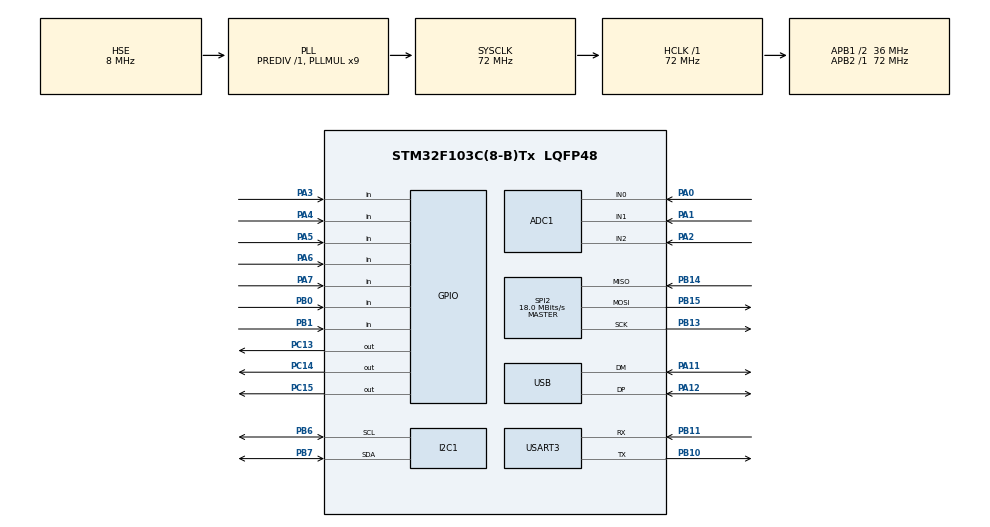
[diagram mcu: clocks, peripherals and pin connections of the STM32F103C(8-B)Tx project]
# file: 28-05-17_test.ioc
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ADC1.Channel-24\#ChannelRegularConversion=ADC_CHANNEL_0
ADC1.Channel-25\#ChannelRegularConversion=ADC_CHANNEL_1
ADC1.Channel-26\#ChannelRegularConversion=ADC_CHANNEL_2
ADC1.ContinuousConvMode=ENABLE
ADC1.NbrOfConversion=3
ADC1.NbrOfConversionFlag=1
ADC1.Rank-24\#ChannelRegularConversion=1
ADC1.Rank-25\#ChannelRegularConversion=2
ADC1.Rank-26\#ChannelRegularConversion=3
ADC1.SamplingTime-24\#ChannelRegularConversion=ADC_SAMPLETIME_7CYCLES_5
ADC1.SamplingTime-25\#ChannelRegularConversion=ADC_SAMPLETIME_7CYCLES_5
ADC1.SamplingTime-26\#ChannelRegularConversion=ADC_SAMPLETIME_7CYCLES_5
ADC1.master=1
Dma.ADC1.0.Direction=DMA_PERIPH_TO_MEMORY
Dma.ADC1.0.Instance=DMA1_Channel1
Dma.ADC1.0.MemDataAlignment=DMA_MDATAALIGN_HALFWORD
Dma.ADC1.0.MemInc=DMA_MINC_ENABLE
Dma.ADC1.0.Mode=DMA_CIRCULAR
Dma.ADC1.0.PeriphDataAlignment=DMA_PDATAALIGN_HALFWORD
Dma.ADC1.0.PeriphInc=DMA_PINC_DISABLE
Dma.ADC1.0.Priority=DMA_PRIORITY_LOW
Dma.Request0=ADC1
Mcu.Family=STM32F1
Mcu.Name=STM32F103C(8-B)Tx
Mcu.Package=LQFP48
NVIC.DMA1_Channel1_IRQn=true\:0\:0\:false\:false\:true
NVIC.PriorityGroup=NVIC_PRIORITYGROUP_4
NVIC.USB_LP_CAN1_RX0_IRQn=true\:0\:0\:false\:false\:true
PA0-WKUP.Signal=ADCx_IN0
PA1.Signal=ADCx_IN1
PA11.Mode=Device
PA11.Signal=USB_DM
PA12.Mode=Device
PA12.Signal=USB_DP
PA2.Signal=ADCx_IN2
PA3.GPIO_PuPd=GPIO_PULLDOWN
PA3.Signal=GPIO_Input
PA4.GPIO_PuPd=GPIO_PULLDOWN
PA4.Signal=GPIO_Input
PA5.GPIO_PuPd=GPIO_PULLDOWN
PA5.Signal=GPIO_Input
PA6.GPIO_PuPd=GPIO_PULLDOWN
PA6.Signal=GPIO_Input
PA7.GPIO_PuPd=GPIO_PULLDOWN
PA7.Signal=GPIO_Input
PB0.GPIO_PuPd=GPIO_PULLDOWN
PB0.Signal=GPIO_Input
PB1.GPIO_PuPd=GPIO_PULLDOWN
PB1.Signal=GPIO_Input
PB10.Mode=Asynchronous
PB10.Signal=USART3_TX
PB11.Mode=Asynchronous
PB11.Signal=USART3_RX
PB13.Mode=Full_Duplex_Master
PB13.Signal=SPI2_SCK
PB14.Mode=Full_Duplex_Master
PB14.Signal=SPI2_MISO
PB15.Mode=Full_Duplex_Master
PB15.Signal=SPI2_MOSI
PB6.Mode=I2C
PB6.Signal=I2C1_SCL
PB7.Mode=I2C
PB7.Signal=I2C1_SDA
PC13-TAMPER-RTC.Signal=GPIO_Output
PC14-OSC32_IN.Signal=GPIO_Output
PC15-OSC32_OUT.Signal=GPIO_Output
PD0-OSC_IN.Mode=HSE-External-Oscillator
PD0-OSC_IN.Signal=RCC_OSC_IN
PD1-OSC_OUT.Mode=HSE-External-Oscillator
PD1-OSC_OUT.Signal=RCC_OSC_OUT
ProjectManager.HeapSize=0x200
ProjectManager.StackSize=0x400
ProjectManager.TargetToolchain=TrueSTUDIO
RCC.ADCPresc=RCC_ADCPCLK2_DIV6
RCC.AHBFreq_Value=72000000
RCC.APB1CLKDivider=RCC_HCLK_DIV2
RCC.APB1Freq_Value=36000000
RCC.APB1TimFreq_Value=72000000
RCC.APB2Freq_Value=72000000
RCC.APB2TimFreq_Value=72000000
RCC.HCLKFreq_Value=72000000
RCC.PLLMUL=RCC_PLL_MUL9
RCC.RTCClockSelection=RCC_RTCCLKSOURCE_LSE
RCC.SYSCLKFreq_VALUE=72000000
RCC.SYSCLKSource=RCC_SYSCLKSOURCE_PLLCLK
RCC.USBFreq_Value=48000000
RCC.USBPrescaler=RCC_USBCLKSOURCE_PLL_DIV1_5
RCC.VDD_VALUE=3.3
SH.ADCx_IN0.0=ADC1_IN0,IN0
SH.ADCx_IN1.0=ADC1_IN1,IN1
SH.ADCx_IN2.0=ADC1_IN2,IN2
SPI2.CalculateBaudRate=18.0 MBits/s
SPI2.Direction=SPI_DIRECTION_2LINES
SPI2.Mode=SPI_MODE_MASTER
SPI2.VirtualType=VM_MASTER
USART3.VirtualMode=VM_ASYNC
USB_DEVICE.CLASS_NAME_FS=CUSTOMHID
USB_DEVICE.INTERFACE_STRING_CUSTOMHID_FS=\\xB2\\x03\\x58\\x00\\x62\\x00\\x6F\\x00\\x78\\x00\\x20\\x00\\x53\\x00\\x65\\x00\\x63\\x00\\x75\\x00\\x72\\x00\\x69\\x00\\x74\\x00\\x79\\x00\\x20\\x00\\x4D\\x00\\x65\\x00\\x74\\x00\\x68\\x00\\x6F\\x00\\x64\\x00\\x20\\x00\\x33\\x00\\x2C\\x00\\x20\\x00\\x56\\x00\\x65\\x00\\x72\\x00\\x73\\x00\\x69\\x00\\x6F\\x00\\x6E\\x00\\x20\\x00\\x31\\x00\\x2E\\x00\\x30\\x00\\x30\\x00\\x2C\\x00\\x20\\x00\\xA9\\x00\\x20\\x00\\x32\\x00\\x30\\x00\\x30\\x00\\x35\\x00\\x20\\x00\\x4D\\x00\\x69\\x00\\x63\\x00\\x72\\x00\\x6F\\x00\\x73\\x00\\x6F\\x00\\x66\\x00\\x74\\x00\\x20\\x00\\x43\\x00\\x6F\\x00\\x72\\x00\\x70\\x00\\x6F\\x00\\x72\\x00\\x61\\x00\\x74\\x00\\x69\\x00\\x6F\\x00\\x6E\\x00\\x2E\\x00\\x20\\x00\\x41\\x00\\x6C\\x00\\x6C\\x00\\x20\\x00\\x72\\x00\\x69\\x00\\x67\\x00\\x68\\x00\\x74\\x00\\x73\\x00\\x20\\x00\\x72\\x00\\x65\\x00\\x73\\x00\\x65\\x00\\x72\\x00\\x76\\x00\\x65\\x00\\x64\\x00\\x2E\\x00
USB_DEVICE.MANUFACTURER_STRING-CUSTOM_HID_FS=alextrof94
USB_DEVICE.PID_CUSTOMHID_FS=654
USB_DEVICE.PRODUCT_STRING_CUSTOMHID_FS=STM32 JOYSTICK
USB_DEVICE.USBD_CUSTOMHID_OUTREPORT_BUF_SIZE-CUSTOM_HID_FS=20
USB_DEVICE.USBD_CUSTOM_HID_REPORT_DESC_SIZE-CUSTOM_HID_FS=20
USB_DEVICE.VID-CUSTOM_HID_FS=1118
USB_DEVICE.VirtualModeFS=Custom_Hid_FS
VP_SYS_VS_ND.Mode=No_Debug
VP_USB_DEVICE_VS_USB_DEVICE_CUSTOM_HID_FS.Mode=CUSTOM_HID_FS
board=28-05-17_test

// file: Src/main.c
/**
  ******************************************************************************
  * File Name          : main.c
  * Description        : Main program body
  ******************************************************************************
  *
  * Copyright (c) 2017 STMicroelectronics International N.V.
  * All rights reserved.
  *
  * Redistribution and use in source and binary forms, with or without
  * modification, are permitted, provided that the following conditions are met:
  *
  * 1. Redistribution of source code must retain the above copyright notice,
  *    this list of conditions and the following disclaimer.
  * 2. Redistributions in binary form must reproduce the above copyright notice,
  *    this list of conditions and the following disclaimer in the documentation
  *    and/or other materials provided with the distribution.
  * 3. Neither the name of STMicroelectronics nor the names of other
  *    contributors to this software may be used to endorse or promote products
  *    derived from this software without specific written permission.
  * 4. This software, including modifications and/or derivative works of this
  *    software, must execute solely and exclusively on microcontroller or
  *    microprocessor devices manufactured by or for STMicroelectronics.
  * 5. Redistribution and use of this software other than as permitted under
  *    this license is void and will automatically terminate your rights under
  *    this license.
  *
  * THIS SOFTWARE IS PROVIDED BY STMICROELECTRONICS AND CONTRIBUTORS "AS IS"
  * AND ANY EXPRESS, IMPLIED OR STATUTORY WARRANTIES, INCLUDING, BUT NOT
  * LIMITED TO, THE IMPLIED WARRANTIES OF MERCHANTABILITY, FITNESS FOR A
  * PARTICULAR PURPOSE AND NON-INFRINGEMENT OF THIRD PARTY INTELLECTUAL PROPERTY
  * RIGHTS ARE DISCLAIMED TO THE FULLEST EXTENT PERMITTED BY LAW. IN NO EVENT
  * SHALL STMICROELECTRONICS OR CONTRIBUTORS BE LIABLE FOR ANY DIRECT, INDIRECT,
  * INCIDENTAL, SPECIAL, EXEMPLARY, OR CONSEQUENTIAL DAMAGES (INCLUDING, BUT NOT
  * LIMITED TO, PROCUREMENT OF SUBSTITUTE GOODS OR SERVICES; LOSS OF USE, DATA,
  * OR PROFITS; OR BUSINESS INTERRUPTION) HOWEVER CAUSED AND ON ANY THEORY OF
  * LIABILITY, WHETHER IN CONTRACT, STRICT LIABILITY, OR TORT (INCLUDING
  * NEGLIGENCE OR OTHERWISE) ARISING IN ANY WAY OUT OF THE USE OF THIS SOFTWARE,
  * EVEN IF ADVISED OF THE POSSIBILITY OF SUCH DAMAGE.
  *
  ******************************************************************************
  */
#include "main.h"
#include "stm32f1xx_hal.h"
#include "usb_device.h"

/* USER CODE BEGIN Includes */
#include "usbd_custom_hid_if.h"
#include "usbd_customhid.h"
//#include "stdio.h"

/* USER CODE END Includes */

ADC_HandleTypeDef hadc1;
DMA_HandleTypeDef hdma_adc1;

I2C_HandleTypeDef hi2c1;

SPI_HandleTypeDef hspi2;

UART_HandleTypeDef huart3;

/* USER CODE BEGIN PV */
/* Private variables ---------------------------------------------------------*/
/* USER CODE END PV */

void SystemClock_Config(void);
void Error_Handler(void);
static void MX_GPIO_Init(void);
static void MX_DMA_Init(void);
static void MX_ADC1_Init(void);
static void MX_USART3_UART_Init(void);
static void MX_SPI2_Init(void);
static void MX_I2C1_Init(void);

/* USER CODE BEGIN PFP */
/* Private function prototypes -----------------------------------------------*/

/* USER CODE END PFP */

/* USER CODE BEGIN 0 */
void UU_PutChar(uint8_t ch)
{
  while(!(USART3->SR & USART_SR_TXE));
  USART3->DR = ch;
}
void U3S(uint8_t * str)
{
  while(*str != 0)
  {
    UU_PutChar(*str);
    str++;
  }
}
void U3N(uint32_t x)
{
  char value[10]; //a temp array to hold results of conversion
  int i = 0; //loop index

  do
  {
    value[i++] = (char)(x % 10) + '0'; //convert integer to character
    x /= 10;
  } while(x);

  while(i) //send data
  {
    UU_PutChar(value[--i]);
  }
}
void U3NS(int32_t x)
{
  char value[10]; //a temp array to hold results of conversion
  int i = 0; //loop index

  if (x < 0)
  {
	  value[i++] = '-';
	  x = -x;
  }
  do
  {
    value[i++] = (char)((x % 10) + '0'); //convert integer to character
    x /= 10;
  } while(x > 0 || x < -0);

  while(i) //send data
  {
    UU_PutChar(value[--i]);
  }
}
//extern USBD_HandleTypeDef  *hUsbDeviceFS;
uint8_t dataToSend[20] = {0x00, 0x14, 0x01, 0xEE, 0x0F, 0x00, 0x0F, 0x00, 0xFF, 0xFF, 0x00, 0x00, 0x00, 0x00, 0x00, 0x00, 0x00, 0x00, 0x00, 0x00};
//                        butns|size|     |     | lt  | rt  | lx        | ly        | rx        | ry        | unused
//                                    b10 & b9  & b7  & b8  & dr  & dl  & dd  & du
//                                          b4  & b3  & b2  & b1  & b0  & nusd & xbox & b6  & b5
uint8_t dataReceived[8]; // not used yet
uint16_t adcFrom [3];
int16_t adcFromBuffer [3];

uint32_t ticksNextBlink = 0;
uint32_t ticksForBlink = 1000;

uint8_t buttonPressed = 0;

uint8_t readA(){ return HAL_GPIO_ReadPin(GPIOA, GPIO_PIN_3); }
uint8_t readB(){ return HAL_GPIO_ReadPin(GPIOA, GPIO_PIN_4); }
uint8_t readX(){ return HAL_GPIO_ReadPin(GPIOA, GPIO_PIN_5); }
uint8_t readY(){ return HAL_GPIO_ReadPin(GPIOA, GPIO_PIN_6); }
uint8_t readMode(){ return HAL_GPIO_ReadPin(GPIOB, GPIO_PIN_1); }
uint8_t readLB(){ return 0; }
uint8_t readRB(){ return 0; }
uint8_t readDU(){ return 0; }
uint8_t readDD(){ return 0; }
uint8_t readDL(){ return 0; }
uint8_t readDR(){ return 0; }
uint8_t readStart(){ return HAL_GPIO_ReadPin(GPIOB, GPIO_PIN_0); }
uint8_t readBack(){ return HAL_GPIO_ReadPin(GPIOA, GPIO_PIN_7); }
uint8_t readLS(){ return 0; }
uint8_t readRS(){ return 0; }

void updateButtons()
{
	// btns |rs|, |ls|, |select|, |start|, |dr|, |dl|, |dd|, |du|
	dataToSend[2] = 0;
	dataToSend[2] |= (readDU() & 1) << 0;
	dataToSend[2] |= (readDD() & 1) << 1;
	dataToSend[2] |= (readDL() & 1) << 2;
	dataToSend[2] |= (readDR() & 1) << 3;
	dataToSend[2] |= (readStart() & 1) << 4;
	dataToSend[2] |= (readBack()  & 1) << 5;
	dataToSend[2] |= (readLS() & 1) << 6;
	dataToSend[2] |= (readRS() & 1) << 7;
	// btns |y|, |x|, |b|, |a|, _, _, |rb|, |lb|

	dataToSend[3] = 0;
	dataToSend[3] |= (readLB() & 1) << 0;
	dataToSend[3] |= (readRB() & 1) << 1;
	dataToSend[3] |= (0 & 1) << 2;
	dataToSend[3] |= (0 & 1) << 3;
	dataToSend[3] |= (readA()  & 1) << 4;
	dataToSend[3] |= (readB()  & 1) << 5;
	dataToSend[3] |= (readX()  & 1) << 6;
	dataToSend[3] |= (readY()  & 1) << 7;
	// z = -left-trigger zone _ 0 _ right-trigger zone
	adcFromBuffer[2] = (int16_t)adcFrom[2];
	adcFromBuffer[2] /= 8;
	adcFromBuffer[2] = adcFromBuffer[2] - 255;
	// left & right triggers
	dataToSend[4] = 0; //left
	dataToSend[5] = 0; //right
	if (adcFromBuffer[2] < 0)
		dataToSend[4] = (uint8_t)(256 - (adcFromBuffer[2] & 0xFF));
	else
		dataToSend[5] = adcFromBuffer[2] & 0xFF;
	// lx
	adcFromBuffer[1] = (int16_t)adcFrom[1];
	adcFromBuffer[1] -= 2048;
	adcFromBuffer[1] *= 16;
	dataToSend[6] = adcFromBuffer[1] & 0xFF;
	dataToSend[7] = (adcFromBuffer[1] >> 8) & 0xFF;
	// ly
	adcFromBuffer[0] = (int16_t)adcFrom[0];
	adcFromBuffer[0] -= 2048;
	adcFromBuffer[0] *= 16;
	dataToSend[8] = adcFromBuffer[0] & 0xFF;
	dataToSend[9] = (adcFromBuffer[0] >> 8) & 0xFF;
	// rx
	dataToSend[10] = 0x7F;
	dataToSend[11] = 0xFF;
	// ry
	dataToSend[12] = 0x7F;
	dataToSend[13] = 0xFF;

	// visual can delete
	HAL_GPIO_WritePin(GPIOC, GPIO_PIN_15, dataToSend[2] || dataToSend[3]);

}
/* USER CODE END 0 */

int main(void)
{

  /* MCU Configuration----------------------------------------------------------*/

  /* Reset of all peripherals, Initializes the Flash interface and the Systick. */
  HAL_Init();

  /* Configure the system clock */
  SystemClock_Config();

  /* Initialize all configured peripherals */
  MX_GPIO_Init();
  MX_DMA_Init();
  MX_USB_DEVICE_Init();
  MX_ADC1_Init();
  MX_USART3_UART_Init();
  MX_SPI2_Init();
  MX_I2C1_Init();

  /* USER CODE BEGIN 2 */
  HAL_ADC_Start_DMA(&hadc1, (uint32_t*)&adcFrom, 3); // for analog reading start periph-to-mem dma for 3 pins. settings in CUBE
  /* USER CODE END 2 */

  /* Infinite loop */
  /* USER CODE BEGIN WHILE */
  while (1)
  {
	  if (HAL_GetTick() > ticksNextBlink)
	  {
		  ticksNextBlink = HAL_GetTick() + ticksForBlink;
		  HAL_GPIO_WritePin(GPIOC, GPIO_PIN_13, !HAL_GPIO_ReadPin(GPIOC, GPIO_PIN_13));
	  }
	    updateButtons();
	    USBD_CUSTOM_HID_SendReport(&hUsbDeviceFS, dataToSend, 20);
  /* USER CODE END WHILE */

  }

}

/** System Clock Configuration
*/
void SystemClock_Config(void)
{

  RCC_OscInitTypeDef RCC_OscInitStruct;
  RCC_ClkInitTypeDef RCC_ClkInitStruct;
  RCC_PeriphCLKInitTypeDef PeriphClkInit;

    /**Initializes the CPU, AHB and APB busses clocks
    */
  RCC_OscInitStruct.OscillatorType = RCC_OSCILLATORTYPE_HSE;
  RCC_OscInitStruct.HSEState = RCC_HSE_ON;
  RCC_OscInitStruct.HSEPredivValue = RCC_HSE_PREDIV_DIV1;
  RCC_OscInitStruct.HSIState = RCC_HSI_ON;
  RCC_OscInitStruct.PLL.PLLState = RCC_PLL_ON;
  RCC_OscInitStruct.PLL.PLLSource = RCC_PLLSOURCE_HSE;
  RCC_OscInitStruct.PLL.PLLMUL = RCC_PLL_MUL9;
  if (HAL_RCC_OscConfig(&RCC_OscInitStruct) != HAL_OK)
  {
    Error_Handler();
  }

    /**Initializes the CPU, AHB and APB busses clocks
    */
  RCC_ClkInitStruct.ClockType = RCC_CLOCKTYPE_HCLK|RCC_CLOCKTYPE_SYSCLK
                              |RCC_CLOCKTYPE_PCLK1|RCC_CLOCKTYPE_PCLK2;
  RCC_ClkInitStruct.SYSCLKSource = RCC_SYSCLKSOURCE_PLLCLK;
  RCC_ClkInitStruct.AHBCLKDivider = RCC_SYSCLK_DIV1;
  RCC_ClkInitStruct.APB1CLKDivider = RCC_HCLK_DIV2;
  RCC_ClkInitStruct.APB2CLKDivider = RCC_HCLK_DIV1;

  if (HAL_RCC_ClockConfig(&RCC_ClkInitStruct, FLASH_LATENCY_2) != HAL_OK)
  {
    Error_Handler();
  }

  PeriphClkInit.PeriphClockSelection = RCC_PERIPHCLK_ADC|RCC_PERIPHCLK_USB;
  PeriphClkInit.AdcClockSelection = RCC_ADCPCLK2_DIV6;
  PeriphClkInit.UsbClockSelection = RCC_USBCLKSOURCE_PLL_DIV1_5;
  if (HAL_RCCEx_PeriphCLKConfig(&PeriphClkInit) != HAL_OK)
  {
    Error_Handler();
  }

    /**Configure the Systick interrupt time
    */
  HAL_SYSTICK_Config(HAL_RCC_GetHCLKFreq()/1000);

    /**Configure the Systick
    */
  HAL_SYSTICK_CLKSourceConfig(SYSTICK_CLKSOURCE_HCLK);

  /* SysTick_IRQn interrupt configuration */
  HAL_NVIC_SetPriority(SysTick_IRQn, 0, 0);
}

/* ADC1 init function */
static void MX_ADC1_Init(void)
{

  ADC_ChannelConfTypeDef sConfig;

    /**Common config
    */
  hadc1.Instance = ADC1;
  hadc1.Init.ScanConvMode = ADC_SCAN_ENABLE;
  hadc1.Init.ContinuousConvMode = ENABLE;
  hadc1.Init.DiscontinuousConvMode = DISABLE;
  hadc1.Init.ExternalTrigConv = ADC_SOFTWARE_START;
  hadc1.Init.DataAlign = ADC_DATAALIGN_RIGHT;
  hadc1.Init.NbrOfConversion = 3;
  if (HAL_ADC_Init(&hadc1) != HAL_OK)
  {
    Error_Handler();
  }

    /**Configure Regular Channel
    */
  sConfig.Channel = ADC_CHANNEL_0;
  sConfig.Rank = 1;
  sConfig.SamplingTime = ADC_SAMPLETIME_7CYCLES_5;
  if (HAL_ADC_ConfigChannel(&hadc1, &sConfig) != HAL_OK)
  {
    Error_Handler();
  }

    /**Configure Regular Channel
    */
  sConfig.Channel = ADC_CHANNEL_1;
  sConfig.Rank = 2;
  if (HAL_ADC_ConfigChannel(&hadc1, &sConfig) != HAL_OK)
  {
    Error_Handler();
  }

    /**Configure Regular Channel
    */
  sConfig.Channel = ADC_CHANNEL_2;
  sConfig.Rank = 3;
  if (HAL_ADC_ConfigChannel(&hadc1, &sConfig) != HAL_OK)
  {
    Error_Handler();
  }

}

/* I2C1 init function */
static void MX_I2C1_Init(void)
{

  hi2c1.Instance = I2C1;
  hi2c1.Init.ClockSpeed = 100000;
  hi2c1.Init.DutyCycle = I2C_DUTYCYCLE_2;
  hi2c1.Init.OwnAddress1 = 0;
  hi2c1.Init.AddressingMode = I2C_ADDRESSINGMODE_7BIT;
  hi2c1.Init.DualAddressMode = I2C_DUALADDRESS_DISABLE;
  hi2c1.Init.OwnAddress2 = 0;
  hi2c1.Init.GeneralCallMode = I2C_GENERALCALL_DISABLE;
  hi2c1.Init.NoStretchMode = I2C_NOSTRETCH_DISABLE;
  if (HAL_I2C_Init(&hi2c1) != HAL_OK)
  {
    Error_Handler();
  }

}

/* SPI2 init function */
static void MX_SPI2_Init(void)
{

  hspi2.Instance = SPI2;
  hspi2.Init.Mode = SPI_MODE_MASTER;
  hspi2.Init.Direction = SPI_DIRECTION_2LINES;
  hspi2.Init.DataSize = SPI_DATASIZE_8BIT;
  hspi2.Init.CLKPolarity = SPI_POLARITY_LOW;
  hspi2.Init.CLKPhase = SPI_PHASE_1EDGE;
  hspi2.Init.NSS = SPI_NSS_SOFT;
  hspi2.Init.BaudRatePrescaler = SPI_BAUDRATEPRESCALER_2;
  hspi2.Init.FirstBit = SPI_FIRSTBIT_MSB;
  hspi2.Init.TIMode = SPI_TIMODE_DISABLE;
  hspi2.Init.CRCCalculation = SPI_CRCCALCULATION_DISABLE;
  hspi2.Init.CRCPolynomial = 10;
  if (HAL_SPI_Init(&hspi2) != HAL_OK)
  {
    Error_Handler();
  }

}

/* USART3 init function */
static void MX_USART3_UART_Init(void)
{

  huart3.Instance = USART3;
  huart3.Init.BaudRate = 115200;
  huart3.Init.WordLength = UART_WORDLENGTH_8B;
  huart3.Init.StopBits = UART_STOPBITS_1;
  huart3.Init.Parity = UART_PARITY_NONE;
  huart3.Init.Mode = UART_MODE_TX_RX;
  huart3.Init.HwFlowCtl = UART_HWCONTROL_NONE;
  huart3.Init.OverSampling = UART_OVERSAMPLING_16;
  if (HAL_UART_Init(&huart3) != HAL_OK)
  {
    Error_Handler();
  }

}

static void MX_DMA_Init(void)
{
  /* DMA controller clock enable */
  __HAL_RCC_DMA1_CLK_ENABLE();

  /* DMA interrupt init */
  /* DMA1_Channel1_IRQn interrupt configuration */
  HAL_NVIC_SetPriority(DMA1_Channel1_IRQn, 0, 0);
  HAL_NVIC_EnableIRQ(DMA1_Channel1_IRQn);

}

/** Configure pins as
        * Analog
        * Input
        * Output
        * EVENT_OUT
        * EXTI
*/
static void MX_GPIO_Init(void)
{

  GPIO_InitTypeDef GPIO_InitStruct;

  /* GPIO Ports Clock Enable */
  __HAL_RCC_GPIOC_CLK_ENABLE();
  __HAL_RCC_GPIOD_CLK_ENABLE();
  __HAL_RCC_GPIOA_CLK_ENABLE();
  __HAL_RCC_GPIOB_CLK_ENABLE();

  /*Configure GPIO pin Output Level */
  HAL_GPIO_WritePin(GPIOC, GPIO_PIN_13|GPIO_PIN_14|GPIO_PIN_15, GPIO_PIN_RESET);

  /*Configure GPIO pins : PC13 PC14 PC15 */
  GPIO_InitStruct.Pin = GPIO_PIN_13|GPIO_PIN_14|GPIO_PIN_15;
  GPIO_InitStruct.Mode = GPIO_MODE_OUTPUT_PP;
  GPIO_InitStruct.Speed = GPIO_SPEED_FREQ_LOW;
  HAL_GPIO_Init(GPIOC, &GPIO_InitStruct);

  /*Configure GPIO pins : PA3 PA4 PA5 PA6
                           PA7 */
  GPIO_InitStruct.Pin = GPIO_PIN_3|GPIO_PIN_4|GPIO_PIN_5|GPIO_PIN_6
                          |GPIO_PIN_7;
  GPIO_InitStruct.Mode = GPIO_MODE_INPUT;
  GPIO_InitStruct.Pull = GPIO_PULLDOWN;
  HAL_GPIO_Init(GPIOA, &GPIO_InitStruct);

  /*Configure GPIO pins : PB0 PB1 */
  GPIO_InitStruct.Pin = GPIO_PIN_0|GPIO_PIN_1;
  GPIO_InitStruct.Mode = GPIO_MODE_INPUT;
  GPIO_InitStruct.Pull = GPIO_PULLDOWN;
  HAL_GPIO_Init(GPIOB, &GPIO_InitStruct);

}

void Error_Handler(void)
{
  while(1)
  {
  }
}

/************************ (C) COPYRIGHT STMicroelectronics *****END OF FILE****/
